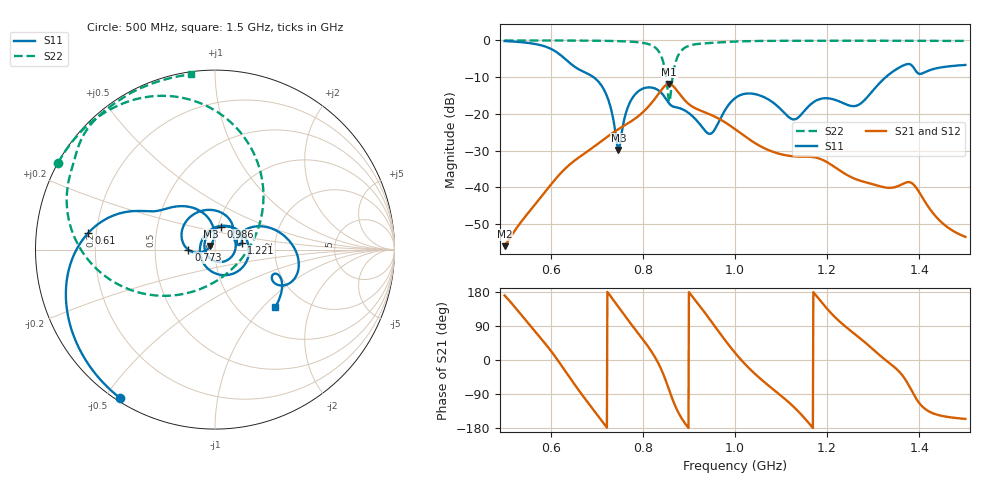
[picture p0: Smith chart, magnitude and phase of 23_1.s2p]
! TOUCHSTONE file generated by CST MICROWAVE STUDIO
! Date and time: Fri Oct  2 18:38:45 2020
! Project name: Scenario_1_Free_Space_out_of_line.cst
! Parameters = {Lambda=346.42; Step_1=17.321; dy1=-33.862; dx1=173; L_HA=400; MT=2.54; Rad_Dielectric=30; Rad_Lower=7.3; Rad_Upper=30; a_HA=580; a_WG=246; b_HA=500; b_WG=121; c_HA=0; c_WG=187; d_feed=85; h_feed=15; h_lower=18; h_upper=40}
! Header version: 2018
! Port assignment regex: !\s*Touchstone port\s*([0-9]+)\s*=\s*(CST MWS port|CST DS port)\s*([0-9]+|Zmin|Zmax)\s*\(\"(.*)\"\)(\s*mode\s*([0-9]+))?.*
! Touchstone port assignment:
! Touchstone port 1 = CST MWS port 1 ("")
! Touchstone port 2 = CST MWS port 2 ("")
# GHz S DB R 50
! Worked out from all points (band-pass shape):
!   1003 points, 500 MHz to 1.5 GHz, reference 50 ohm
!   highest |S21| = -11.83 dB at 857 MHz (marker M1); lowest = -56.0 dB at 500 MHz (marker M2)
!   |S21| within 3 dB of the highest: 832.3 MHz to 881.2 MHz (48.93 MHz wide, 5.71 % of centre)
!   lowest |S11| = -29.8 dB at 747 MHz (marker M3), VSWR 1.07, Z = 47.5 + j1.89 ohm
!   |S11| at or under -10 dB: 693 MHz to 1.327 GHz (634.1 MHz wide, 62.8 % of centre)
!   |S22| runs from -16.8 to 0.0 dB; largest |S21 - S12| = 1.8e-05
!   S11 on the Smith chart (normalised r, x): 500 MHz: 0.01, -0.55; 610 MHz: 0.17, +0.06; 773 MHz: 0.74, -0.00; 986 MHz: 1.04, +0.27; 1.221 GHz: 1.34, +0.10; 1.5 GHz: 1.45, -1.18
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0.5  -0.16 -122.7  -55.98 170.3  -55.98 170.3  -0.01 151.1
0.567  -0.99 -157.3  -44.48 74.4  -44.48 74.4  -0.01 146.5
0.61  -2.96 172.4  -37.79 8.4  -37.79 8.4  -0.02 143.2
0.667  -8.26 146.1  -31.32 -90.0  -31.32 -90.0  -0.05 138.2
0.717  -13.73 106.4  -26.75 -170.4  -26.75 -170.4  -0.11 132.5
0.747  -29.80 142.0  -24.15 139.5  -24.15 139.5  -0.19 128.0
0.773  -16.59 -179.5  -22.14 97.1  -22.14 97.1  -0.33 122.5
0.834  -13.60 80.3  -14.53 -9.6  -14.53 -9.6  -2.89 83.1
0.857  -17.14 43.1  -11.83 -78.8  -11.83 -78.8  -16.75 -36.5
0.868  -18.09 33.2  -12.72 -114.8  -12.72 -114.8  -7.54 -142.6
0.89  -18.98 -1.1  -16.16 -164.6  -16.16 -164.6  -2.08 174.9
0.946  -25.42 -153.0  -20.14 106.0  -20.14 106.0  -0.69 148.8
0.986  -17.56 74.9  -22.89 40.3  -22.89 40.3  -0.38 142.4
1  -15.72 45.5  -24.12 19.0  -24.12 19.1  -0.30 140.4
1.077  -16.41 -70.7  -30.06 -71.7  -30.06 -71.7  -0.12 131.7
1.127  -21.49 178.5  -31.54 -123.2  -31.54 -123.2  -0.10 127.2
1.167  -17.10 72.3  -31.70 -176.5  -31.71 -176.5  -0.10 124.0
1.221  -16.33 14.3  -34.85 108.4  -34.85 108.4  -0.08 119.9
1.268  -17.53 23.3  -38.02 60.8  -38.02 60.8  -0.08 116.3
1.334  -9.28 19.5  -40.11 -7.0  -40.11 -7.0  -0.09 111.3
1.384  -6.83 -24.3  -38.85 -82.3  -38.85 -82.3  -0.10 107.5
1.5  -6.67 -43.6  -53.44 -155.5  -53.47 -155.4  -0.13 97.7
